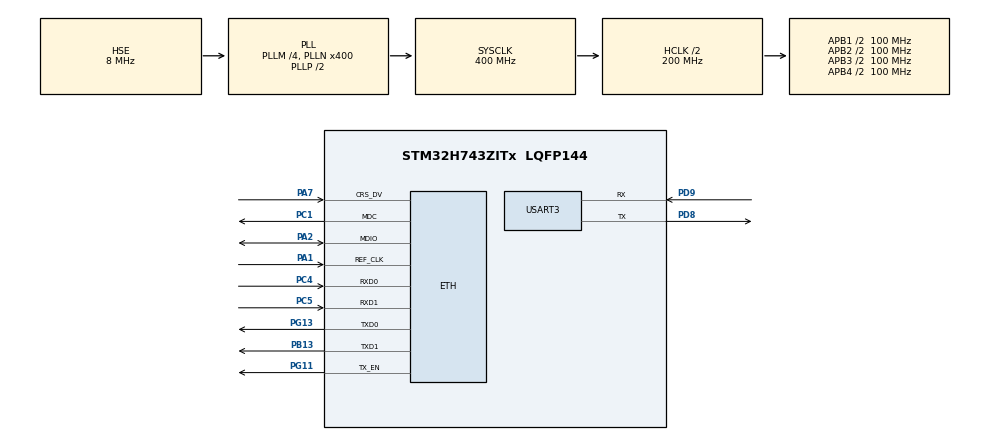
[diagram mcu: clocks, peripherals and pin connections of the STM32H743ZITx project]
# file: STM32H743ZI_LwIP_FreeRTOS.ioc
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CORTEX_M7.AccessPermission_S-Cortex_Memory_Protection_Unit_Region1_Settings_S=MPU_REGION_FULL_ACCESS
CORTEX_M7.AccessPermission_S-Cortex_Memory_Protection_Unit_Region2_Settings_S=MPU_REGION_FULL_ACCESS
CORTEX_M7.BaseAddress_S-Cortex_Memory_Protection_Unit_Region1_Settings_S=0x30000000
CORTEX_M7.BaseAddress_S-Cortex_Memory_Protection_Unit_Region2_Settings_S=0x30004000
CORTEX_M7.CPU_DCache=Enabled
CORTEX_M7.CPU_ICache=Enabled
CORTEX_M7.DisableExec_S-Cortex_Memory_Protection_Unit_Region1_Settings_S=MPU_INSTRUCTION_ACCESS_ENABLE
CORTEX_M7.Enable-Cortex_Memory_Protection_Unit_Region0_Settings=MPU_REGION_ENABLE
CORTEX_M7.Enable_S-Cortex_Memory_Protection_Unit_Region1_Settings_S=MPU_REGION_ENABLE
CORTEX_M7.Enable_S-Cortex_Memory_Protection_Unit_Region2_Settings_S=MPU_REGION_ENABLE
CORTEX_M7.IsBufferable_S-Cortex_Memory_Protection_Unit_Region1_Settings_S=MPU_ACCESS_BUFFERABLE
CORTEX_M7.IsShareable_S-Cortex_Memory_Protection_Unit_Region1_Settings_S=MPU_ACCESS_NOT_SHAREABLE
CORTEX_M7.IsShareable_S-Cortex_Memory_Protection_Unit_Region2_Settings_S=MPU_ACCESS_SHAREABLE
CORTEX_M7.MPU_Control=MPU_PRIVILEGED_DEFAULT
CORTEX_M7.Size_S-Cortex_Memory_Protection_Unit_Region1_Settings_S=MPU_REGION_SIZE_1KB
CORTEX_M7.Size_S-Cortex_Memory_Protection_Unit_Region2_Settings_S=MPU_REGION_SIZE_16KB
CORTEX_M7.TypeExtField_S-Cortex_Memory_Protection_Unit_Region1_Settings_S=MPU_TEX_LEVEL0
CORTEX_M7.TypeExtField_S-Cortex_Memory_Protection_Unit_Region2_Settings_S=MPU_TEX_LEVEL1
CORTEX_M7.default_mode_Activation=1
ETH.MediaInterface=HAL_ETH_RMII_MODE
ETH.RxBuffLen=1000
FREERTOS.Tasks01=ExampleTask,24,256,StartExampleTask,Default,NULL,Dynamic,NULL,NULL
FREERTOS.configTOTAL_HEAP_SIZE=30720
FREERTOS.configUSE_NEWLIB_REENTRANT=1
LWIP.BSP.number=1
LWIP.GATEWAY_ADDRESS=192.168.001.001
LWIP.ICMP_DEBUG=LWIP_DBG_OFF
LWIP.IP_ADDRESS=192.168.001.142
LWIP.LWIP_BROADCAST_PING=0
LWIP.LWIP_DHCP=1
LWIP.LWIP_MULTICAST_PING=0
LWIP.LWIP_NETIF_API=1
LWIP.LWIP_NETIF_REMOVE_CALLBACK=1
LWIP.LWIP_RAM_HEAP_POINTER=0x30004000
LWIP.LWIP_SOCKET=0
LWIP.MEMP_NUM_TCP_PCB=10
LWIP.MEMP_NUM_UDP_PCB=5
LWIP.MEM_SIZE=14*1024
LWIP.NETMASK_ADDRESS=255.255.255.000
LWIP.TCP_MSS=536
LWIP.Version=v2.1.2_Cube
LWIP0.BSP.STBoard=false
LWIP0.BSP.api=BSP_COMPONENT_DRIVER
LWIP0.BSP.component=LAN8742
LWIP0.BSP.instance=LAN8742
LWIP0.BSP.name=Driver_PHY
LWIP0.BSP.semaphore=S_LAN8742
LWIP0.BSP.solution=LAN8742
Mcu.Family=STM32H7
Mcu.Name=STM32H743ZITx
Mcu.Package=LQFP144
NVIC.ETH_IRQn=true\:7\:0\:true\:false\:true\:true\:true\:true\:true
NVIC.PriorityGroup=NVIC_PRIORITYGROUP_4
NVIC.TIM6_DAC_IRQn=true\:15\:0\:false\:false\:true\:false\:false\:true\:true
NVIC.TimeBase=TIM6_DAC_IRQn
NVIC.TimeBaseIP=TIM6
PA1.GPIO_Speed_Default_HIGH=GPIO_SPEED_FREQ_VERY_HIGH
PA1.Mode=RMII
PA1.Signal=ETH_REF_CLK
PA2.GPIO_Speed_Default_HIGH=GPIO_SPEED_FREQ_VERY_HIGH
PA2.Mode=RMII
PA2.Signal=ETH_MDIO
PA7.GPIO_Speed_Default_HIGH=GPIO_SPEED_FREQ_VERY_HIGH
PA7.Mode=RMII
PA7.Signal=ETH_CRS_DV
PB13.GPIO_Speed_Default_HIGH=GPIO_SPEED_FREQ_VERY_HIGH
PB13.Mode=RMII
PB13.Signal=ETH_TXD1
PC1.GPIO_Speed_Default_HIGH=GPIO_SPEED_FREQ_VERY_HIGH
PC1.Mode=RMII
PC1.Signal=ETH_MDC
PC14-OSC32_IN\ (OSC32_IN).Mode=LSE-External-Oscillator
PC14-OSC32_IN\ (OSC32_IN).Signal=RCC_OSC32_IN
PC15-OSC32_OUT\ (OSC32_OUT).Mode=LSE-External-Oscillator
PC15-OSC32_OUT\ (OSC32_OUT).Signal=RCC_OSC32_OUT
PC4.GPIO_Speed_Default_HIGH=GPIO_SPEED_FREQ_VERY_HIGH
PC4.Mode=RMII
PC4.Signal=ETH_RXD0
PC5.GPIO_Speed_Default_HIGH=GPIO_SPEED_FREQ_VERY_HIGH
PC5.Mode=RMII
PC5.Signal=ETH_RXD1
PD8.GPIO_PuPd=GPIO_PULLUP
PD8.GPIO_Speed=GPIO_SPEED_FREQ_MEDIUM
PD8.Mode=Asynchronous
PD8.Signal=USART3_TX
PD9.GPIO_Speed=GPIO_SPEED_FREQ_MEDIUM
PD9.Mode=Asynchronous
PD9.Signal=USART3_RX
PG11.GPIO_Speed_Default_HIGH=GPIO_SPEED_FREQ_VERY_HIGH
PG11.Mode=RMII
PG11.Signal=ETH_TX_EN
PG13.GPIO_Speed_Default_HIGH=GPIO_SPEED_FREQ_VERY_HIGH
PG13.Mode=RMII
PG13.Signal=ETH_TXD0
PH0-OSC_IN\ (PH0).Mode=HSE-External-Clock-Source
PH0-OSC_IN\ (PH0).Signal=RCC_OSC_IN
ProjectManager.HeapSize=0x400
ProjectManager.StackSize=0x800
ProjectManager.TargetToolchain=STM32CubeIDE
RCC.ADCFreq_Value=16125000
RCC.APB1Freq_Value=100000000
RCC.APB2Freq_Value=100000000
RCC.APB3Freq_Value=100000000
RCC.APB4Freq_Value=100000000
RCC.CortexFreq_Value=400000000
RCC.D1PPRE=RCC_APB3_DIV2
RCC.D2PPRE1=RCC_APB1_DIV2
RCC.D2PPRE2=RCC_APB2_DIV2
RCC.D3PPRE=RCC_APB4_DIV2
RCC.DIVM1=4
RCC.DIVM3=8
RCC.DIVN1=400
RCC.DIVN3=192
RCC.DIVQ3=4
RCC.HCLKFreq_Value=200000000
RCC.HPRE=RCC_HCLK_DIV2
RCC.HSE_VALUE=8000000
RCC.PLLSourceVirtual=RCC_PLLSOURCE_HSE
RCC.PWR_Regulator_Voltage_Scale=PWR_REGULATOR_VOLTAGE_SCALE1
RCC.SYSCLKFreq_VALUE=400000000
RCC.SYSCLKSource=RCC_SYSCLKSOURCE_PLLCLK
RCC.USART234578CLockSelection=RCC_USART234578CLKSOURCE_PLL3
RCC.USBFreq_Value=400000000
USART3.DMADisableonRxErrorParam=ADVFEATURE_DMA_ENABLEONRXERROR
USART3.OverrunDisableParam=ADVFEATURE_OVERRUN_ENABLE
USART3.VirtualMode-Asynchronous=VM_ASYNC
VP_FREERTOS_VS_CMSIS_V2.Mode=CMSIS_V2
VP_LWIP_VS_Enabled.Mode=Enabled
VP_MEMORYMAP_VS_MEMORYMAP.Mode=CurAppReg
VP_SYS_VS_tim6.Mode=TIM6
board=custom

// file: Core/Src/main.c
/* USER CODE BEGIN Header */
/**
  ******************************************************************************
  * @file           : main.c
  * @brief          : Main program body
  ******************************************************************************
  * @attention
  *
  * Copyright (c) 2026 STMicroelectronics.
  * All rights reserved.
  *
  * This software is licensed under terms that can be found in the LICENSE file
  * in the root directory of this software component.
  * If no LICENSE file comes with this software, it is provided AS-IS.
  *
  ******************************************************************************
  */
/* USER CODE END Header */
#include "main.h"
#include "cmsis_os.h"
#include "lwip.h"

/* USER CODE BEGIN Includes */
#include <stdint.h>
#include <stdio.h>
#include <stdlib.h>

#include "lan8742.h"
/* USER CODE END Includes */

/* USER CODE BEGIN PD */
#if (defined(__GNUC__) && !defined(__CC_ARM))
#define PUTCHAR_PROTOTYPE int __io_putchar(int ch)
#define GETCHAR_PROTOTYPE int __io_getchar(void)
#else
#define PUTCHAR_PROTOTYPE int fputc(int ch, FILE *f)
#define GETCHAR_PROTOTYPE int fgetc(FILE *f)
#endif /* __GNUC__ */

#define INTERFACE_THREAD_STACK_SIZE ( 1024 )
/* USER CODE END PD */

UART_HandleTypeDef huart3;

/* Definitions for ExampleTask */
osThreadId_t ExampleTaskHandle;
const osThreadAttr_t ExampleTask_attributes = {
  .name = "ExampleTask",
  .stack_size = 256 * 4,
  .priority = (osPriority_t) osPriorityNormal,
};
/* USER CODE BEGIN PV */

/* Definitions for DefaultTask */
osThreadId_t DefaultTaskHandle;
const osThreadAttr_t DefaultTask_attributes = {
  .name = "DefaultTask",
  .stack_size = INTERFACE_THREAD_STACK_SIZE,
  .priority = (osPriority_t) osPriorityNormal,
};

/* USER CODE END PV */

void SystemClock_Config(void);
static void MPU_Config(void);
static void MX_GPIO_Init(void);
static void MX_USART3_UART_Init(void);
void StartExampleTask(void *argument);

/* USER CODE BEGIN PFP */
void StartDefaultTask(void *argument);
/* USER CODE END PFP */

/* USER CODE BEGIN 0 */

extern struct netif gnetif;

/* USER CODE END 0 */

int main(void)
{

  /* MPU Configuration--------------------------------------------------------*/
  MPU_Config();

  /* Enable the CPU Cache */

  /* Enable I-Cache---------------------------------------------------------*/
  SCB_EnableICache();

  /* Enable D-Cache---------------------------------------------------------*/
  SCB_EnableDCache();

  /* MCU Configuration--------------------------------------------------------*/

  /* Reset of all peripherals, Initializes the Flash interface and the Systick. */
  HAL_Init();

  /* Configure the system clock */
  SystemClock_Config();

  /* Initialize all configured peripherals */
  MX_GPIO_Init();
  MX_USART3_UART_Init();
  /* USER CODE BEGIN 2 */

  printf("LwIP + FreeRTOS\n");
  printf("NUCLEO-H743ZI board\n");
  printf("State: Ethernet Initialization ...\n");

  /* USER CODE END 2 */

  /* Init scheduler */
  osKernelInitialize();

  /* USER CODE BEGIN RTOS_QUEUES */
  /* add queues, ... */
#if 0
  /* USER CODE END RTOS_QUEUES */

  /* Create the thread(s) */
  /* creation of ExampleTask */
  ExampleTaskHandle = osThreadNew(StartExampleTask, NULL, &ExampleTask_attributes);

  /* USER CODE BEGIN RTOS_THREADS */
  /* add threads, ... */
#endif /* 0 */

  DefaultTaskHandle = osThreadNew(StartDefaultTask, NULL, &DefaultTask_attributes);
  /* USER CODE END RTOS_THREADS */

  /* Start scheduler */
  osKernelStart();

  /* We should never get here as control is now taken by the scheduler */

  /* Infinite loop */
  while (1)
  {

  }
}

void SystemClock_Config(void)
{
  RCC_OscInitTypeDef RCC_OscInitStruct = {0};
  RCC_ClkInitTypeDef RCC_ClkInitStruct = {0};

  /** Supply configuration update enable
  */
  HAL_PWREx_ConfigSupply(PWR_LDO_SUPPLY);

  /** Configure the main internal regulator output voltage
  */
  __HAL_PWR_VOLTAGESCALING_CONFIG(PWR_REGULATOR_VOLTAGE_SCALE1);

  while(!__HAL_PWR_GET_FLAG(PWR_FLAG_VOSRDY)) {}

  /** Initializes the RCC Oscillators according to the specified parameters
  * in the RCC_OscInitTypeDef structure.
  */
  RCC_OscInitStruct.OscillatorType = RCC_OSCILLATORTYPE_HSE;
  RCC_OscInitStruct.HSEState = RCC_HSE_BYPASS;
  RCC_OscInitStruct.PLL.PLLState = RCC_PLL_ON;
  RCC_OscInitStruct.PLL.PLLSource = RCC_PLLSOURCE_HSE;
  RCC_OscInitStruct.PLL.PLLM = 4;
  RCC_OscInitStruct.PLL.PLLN = 400;
  RCC_OscInitStruct.PLL.PLLP = 2;
  RCC_OscInitStruct.PLL.PLLQ = 2;
  RCC_OscInitStruct.PLL.PLLR = 2;
  RCC_OscInitStruct.PLL.PLLRGE = RCC_PLL1VCIRANGE_1;
  RCC_OscInitStruct.PLL.PLLVCOSEL = RCC_PLL1VCOWIDE;
  RCC_OscInitStruct.PLL.PLLFRACN = 0;
  if (HAL_RCC_OscConfig(&RCC_OscInitStruct) != HAL_OK)
  {
    Error_Handler();
  }

  /** Initializes the CPU, AHB and APB buses clocks
  */
  RCC_ClkInitStruct.ClockType = RCC_CLOCKTYPE_HCLK|RCC_CLOCKTYPE_SYSCLK
                              |RCC_CLOCKTYPE_PCLK1|RCC_CLOCKTYPE_PCLK2
                              |RCC_CLOCKTYPE_D3PCLK1|RCC_CLOCKTYPE_D1PCLK1;
  RCC_ClkInitStruct.SYSCLKSource = RCC_SYSCLKSOURCE_PLLCLK;
  RCC_ClkInitStruct.SYSCLKDivider = RCC_SYSCLK_DIV1;
  RCC_ClkInitStruct.AHBCLKDivider = RCC_HCLK_DIV2;
  RCC_ClkInitStruct.APB3CLKDivider = RCC_APB3_DIV2;
  RCC_ClkInitStruct.APB1CLKDivider = RCC_APB1_DIV2;
  RCC_ClkInitStruct.APB2CLKDivider = RCC_APB2_DIV2;
  RCC_ClkInitStruct.APB4CLKDivider = RCC_APB4_DIV2;

  if (HAL_RCC_ClockConfig(&RCC_ClkInitStruct, FLASH_LATENCY_2) != HAL_OK)
  {
    Error_Handler();
  }
}

static void MX_USART3_UART_Init(void)
{

  huart3.Instance = USART3;
  huart3.Init.BaudRate = 115200;
  huart3.Init.WordLength = UART_WORDLENGTH_8B;
  huart3.Init.StopBits = UART_STOPBITS_1;
  huart3.Init.Parity = UART_PARITY_NONE;
  huart3.Init.Mode = UART_MODE_TX_RX;
  huart3.Init.HwFlowCtl = UART_HWCONTROL_NONE;
  huart3.Init.OverSampling = UART_OVERSAMPLING_16;
  huart3.Init.OneBitSampling = UART_ONE_BIT_SAMPLE_DISABLE;
  huart3.Init.ClockPrescaler = UART_PRESCALER_DIV1;
  huart3.AdvancedInit.AdvFeatureInit = UART_ADVFEATURE_NO_INIT;
  if (HAL_UART_Init(&huart3) != HAL_OK)
  {
    Error_Handler();
  }
  if (HAL_UARTEx_SetTxFifoThreshold(&huart3, UART_TXFIFO_THRESHOLD_1_8) != HAL_OK)
  {
    Error_Handler();
  }
  if (HAL_UARTEx_SetRxFifoThreshold(&huart3, UART_RXFIFO_THRESHOLD_1_8) != HAL_OK)
  {
    Error_Handler();
  }
  if (HAL_UARTEx_DisableFifoMode(&huart3) != HAL_OK)
  {
    Error_Handler();
  }

}

static void MX_GPIO_Init(void)
{

  /* GPIO Ports Clock Enable */
  __HAL_RCC_GPIOC_CLK_ENABLE();
  __HAL_RCC_GPIOH_CLK_ENABLE();
  __HAL_RCC_GPIOA_CLK_ENABLE();
  __HAL_RCC_GPIOB_CLK_ENABLE();
  __HAL_RCC_GPIOD_CLK_ENABLE();
  __HAL_RCC_GPIOG_CLK_ENABLE();

}

/* USER CODE BEGIN 4 */

/**
 * @brief  Retargets the C library scanf function to the USART.
 * @param  None
 * @retval None
 */
GETCHAR_PROTOTYPE
{
	/* Place your implementation of fgetc here */
	/* e.g. read a character on USART and loop until the end of read */
	uint8_t ch = 0;
	while (HAL_OK != HAL_UART_Receive(&huart3, (uint8_t *)&ch, 1, 30000))
	{
		;
	}
	return ch;
}

/**
 * @brief  Retargets the C library printf function to the USART.
 * @param  None
 * @retval None
 */
#if defined(__GNUC__)
int _write(int fd, char * ptr, int len)
{
  HAL_UART_Transmit(&huart3, (uint8_t *) ptr, len, HAL_MAX_DELAY);
  return len;
}
#elif defined (__ICCARM__)
#include "LowLevelIOInterface.h"
size_t __write(int handle, const unsigned char * buffer, size_t size)
{
  HAL_UART_Transmit(&huart3, (uint8_t *) buffer, size, HAL_MAX_DELAY);
  return size;
}
#elif defined (__CC_ARM)
int fputc(int ch, FILE *f)
    HAL_UART_Transmit(&huart3, (uint8_t *)&ch, 1, HAL_MAX_DELAY);
    return ch;
}
#endif

/**
  * @brief  Function implementing the DefaultTask thread.
  * @param  argument: Not used
  * @retval None
  */
void StartDefaultTask(void *argument)
{
  /* Initialize the LwIP stack */
  MX_LWIP_Init();

  /* Initialize webserver demo */
  // http_server_netconn_init();

  /* Initialize the TCP echo server thread */
  // tcpecho_init();
  /* Initialize the UDP echo server thread */
  //udpecho_init();

  /* Infinite loop */
  for(;;)
  {
	/* Delete the Init Thread */
//    osThreadTerminate(StartDefaultTask);
	  osThreadTerminate(NULL);
    osDelay(1);
  }
}

/* USER CODE END 4 */

void StartExampleTask(void *argument)
{
  /* init code for LWIP */
  MX_LWIP_Init();
  for(;;)
  {
    osDelay(1);
  }
}

 /* MPU Configuration */

void MPU_Config(void)
{
  MPU_Region_InitTypeDef MPU_InitStruct = {0};

  /* Disables the MPU */
  HAL_MPU_Disable();

  /** Initializes and configures the Region and the memory to be protected
  */
  MPU_InitStruct.Enable = MPU_REGION_ENABLE;
  MPU_InitStruct.Number = MPU_REGION_NUMBER0;
  MPU_InitStruct.BaseAddress = 0x0;
  MPU_InitStruct.Size = MPU_REGION_SIZE_4GB;
  MPU_InitStruct.SubRegionDisable = 0x87;
  MPU_InitStruct.TypeExtField = MPU_TEX_LEVEL0;
  MPU_InitStruct.AccessPermission = MPU_REGION_NO_ACCESS;
  MPU_InitStruct.DisableExec = MPU_INSTRUCTION_ACCESS_DISABLE;
  MPU_InitStruct.IsShareable = MPU_ACCESS_SHAREABLE;
  MPU_InitStruct.IsCacheable = MPU_ACCESS_NOT_CACHEABLE;
  MPU_InitStruct.IsBufferable = MPU_ACCESS_NOT_BUFFERABLE;

  HAL_MPU_ConfigRegion(&MPU_InitStruct);

  /** Initializes and configures the Region and the memory to be protected
  */
  MPU_InitStruct.Number = MPU_REGION_NUMBER1;
  MPU_InitStruct.BaseAddress = 0x30000000;
  MPU_InitStruct.Size = MPU_REGION_SIZE_1KB;
  MPU_InitStruct.SubRegionDisable = 0x0;
  MPU_InitStruct.AccessPermission = MPU_REGION_FULL_ACCESS;
  MPU_InitStruct.DisableExec = MPU_INSTRUCTION_ACCESS_ENABLE;
  MPU_InitStruct.IsShareable = MPU_ACCESS_NOT_SHAREABLE;
  MPU_InitStruct.IsBufferable = MPU_ACCESS_BUFFERABLE;

  HAL_MPU_ConfigRegion(&MPU_InitStruct);

  /** Initializes and configures the Region and the memory to be protected
  */
  MPU_InitStruct.Number = MPU_REGION_NUMBER2;
  MPU_InitStruct.BaseAddress = 0x30004000;
  MPU_InitStruct.Size = MPU_REGION_SIZE_16KB;
  MPU_InitStruct.TypeExtField = MPU_TEX_LEVEL1;
  MPU_InitStruct.IsShareable = MPU_ACCESS_SHAREABLE;
  MPU_InitStruct.IsBufferable = MPU_ACCESS_NOT_BUFFERABLE;

  HAL_MPU_ConfigRegion(&MPU_InitStruct);
  /* Enables the MPU */
  HAL_MPU_Enable(MPU_PRIVILEGED_DEFAULT);

}

void HAL_TIM_PeriodElapsedCallback(TIM_HandleTypeDef *htim)
{
  if (htim->Instance == TIM6)
  {
    HAL_IncTick();
  }
}

void Error_Handler(void)
{
  __disable_irq();
  while (1)
  {
  }
}
